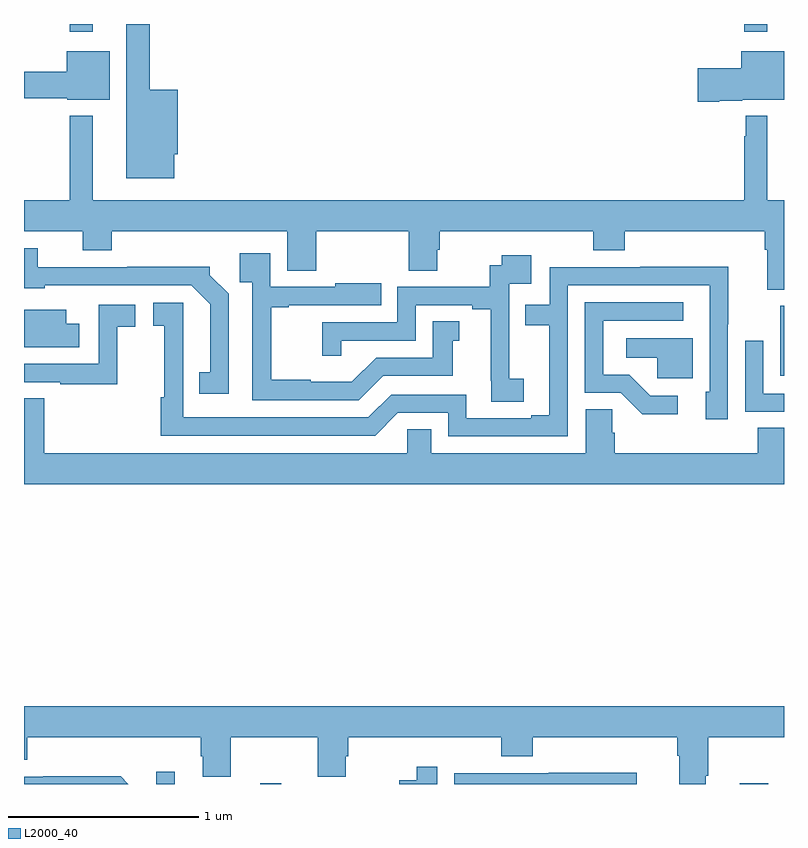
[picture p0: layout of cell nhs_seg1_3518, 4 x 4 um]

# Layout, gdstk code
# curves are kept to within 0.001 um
import gdstk
lib = gdstk.Library(unit=1e-6, precision=1e-09)
def R(c, l, rs):  # rectangles x0, y0, x1, y1
    for r in rs: c.add(gdstk.rectangle(r[:2], r[2:], *l))
def P(c, l, *ps):  # polygons
    for p in ps: c.add(gdstk.Polygon(p, *l))
L2000_40 = (2000, 40)

nhs_seg1_3518 = lib.new_cell('nhs_seg1_3518')
R(nhs_seg1_3518, L2000_40, [(303.696,506.199,303.793,506.263), (304.244,506.199,304.355,506.203), (306.767,506.199,306.916,506.203), (306.98,508.349,307,508.716), (303.24,510.159,303.361,510.199), (306.792,510.159,306.913,510.199)])
P(nhs_seg1_3518, L2000_40, [(303.79,509.514),(303.808,509.514),(303.808,509.854),(303.661,509.854),(303.661,510.199),(303.539,510.199),(303.539,509.387),(303.79,509.387)],
  [(306.658,509.795),(306.78,509.795),(306.78,509.801),(307,509.801),(307,510.055),(306.776,510.055),(306.776,509.967),(306.546,509.967),(306.546,509.789),(306.658,509.789)],
  [(303.451,510.055),(303.224,510.055),(303.224,509.949),(303,509.949),(303,509.807),(303.228,509.807),(303.228,509.801),(303.451,509.801)],
  [(303.361,509.716),(303.24,509.716),(303.24,509.272),(303,509.272),(303,509.108),(303.308,509.108),(303.308,509.009),(303.461,509.009),(303.461,509.108),(304.385,509.108),(304.385,508.9),(304.538,508.9),(304.538,509.108),(305.024,509.108),(305.024,508.9),(305.176,508.9),(305.176,509.01),(305.189,509.01),(305.189,509.108),(305.996,509.108),(305.996,509.009),(306.161,509.009),(306.161,509.108),(306.899,509.108),(306.899,509.012),(306.911,509.012),(306.911,508.801),(307,508.801),(307,509.272),(306.913,509.272),(306.913,509.716),(306.799,509.716),(306.799,509.609),(306.792,509.609),(306.792,509.272),(303.361,509.272)],
  [(304.077,508.778),(303.978,508.877),(303.978,508.922),(303.544,508.922),(303.544,508.92),(303.072,508.92),(303.072,509.019),(303,509.019),(303,508.808),(303.108,508.808),(303.108,508.824),(303.879,508.824),(303.98,508.723),(303.98,508.367),(303.922,508.367),(303.922,508.254),(304.077,508.254)],
  [(304.89,508.347),(305.257,508.347),(305.257,508.531),(305.29,508.531),(305.29,508.634),(305.15,508.634),(305.15,508.443),(304.854,508.443),(304.726,508.315),(304.508,508.315),(304.508,508.327),(304.301,508.327),(304.301,508.707),(304.393,508.707),(304.393,508.719),(304.88,508.719),(304.88,508.834),(304.637,508.834),(304.637,508.815),(304.296,508.815),(304.296,508.993),(304.135,508.993),(304.135,508.841),(304.2,508.841),(304.2,508.218),(304.761,508.218)],
  [(305.629,508.332),(305.555,508.332),(305.555,508.529),(305.553,508.529),(305.553,508.833),(305.671,508.833),(305.671,508.981),(305.515,508.981),(305.515,508.929),(305.452,508.929),(305.452,508.815),(304.965,508.815),(304.965,508.629),(304.57,508.629),(304.57,508.452),(304.671,508.452),(304.671,508.533),(305.061,508.533),(305.061,508.719),(305.36,508.719),(305.36,508.699),(305.456,508.699),(305.456,508.321),(305.458,508.321),(305.458,508.21),(305.629,508.21)],
  [(305.862,508.824),(306.609,508.824),(306.609,508.263),(306.587,508.263),(306.587,508.119),(306.705,508.119),(306.705,508.618),(306.707,508.618),(306.707,508.922),(306.244,508.922),(306.244,508.92),(305.766,508.92),(305.766,508.722),(305.638,508.722),(305.638,508.614),(305.765,508.614),(305.765,508.14),(305.669,508.14),(305.669,508.125),(305.328,508.125),(305.328,508.248),(304.932,508.248),(304.812,508.128),(303.837,508.128),(303.838,508.732),(303.681,508.732),(303.681,508.611),(303.739,508.611),(303.739,508.235),(303.721,508.235),(303.721,508.032),(304.848,508.032),(304.968,508.152),(305.232,508.152),(305.232,508.029),(305.862,508.029)],
  [(306.442,508.242),(306.297,508.242),(306.186,508.353),(306.048,508.353),(306.048,508.638),(306.469,508.638),(306.469,508.734),(305.952,508.734),(305.952,508.257),(306.141,508.257),(306.254,508.145),(306.442,508.145)],
  [(303.492,508.606),(303.586,508.606),(303.586,508.722),(303.393,508.722),(303.393,508.41),(303,508.41),(303,508.314),(303.19,508.314),(303.19,508.302),(303.492,508.302)],
  [(303.292,508.621),(303.223,508.621),(303.223,508.696),(303,508.696),(303,508.499),(303.292,508.499)],
  [(306.52,508.546),(306.171,508.546),(306.171,508.442),(306.333,508.442),(306.333,508.335),(306.52,508.335)],
  [(307,508.254),(306.891,508.254),(306.891,508.531),(306.795,508.531),(306.795,508.158),(307,508.158)],
  [(307,508.073),(306.863,508.073),(306.863,507.94),(306.11,507.94),(306.11,508.049),(306.096,508.049),(306.096,508.172),(305.957,508.172),(305.957,507.94),(305.143,507.94),(305.143,508.067),(305.016,508.067),(305.016,507.94),(303.107,507.94),(303.107,508.229),(303,508.229),(303,507.776),(307,507.776)],
  [(306.589,506.242),(306.602,506.242),(306.602,506.444),(307,506.444),(307,506.608),(303,506.608),(303,506.327),(303.017,506.327),(303.017,506.444),(303.929,506.444),(303.929,506.346),(303.941,506.346),(303.941,506.236),(304.089,506.236),(304.089,506.444),(304.546,506.444),(304.546,506.236),(304.693,506.236),(304.693,506.346),(304.706,506.346),(304.706,506.444),(305.513,506.444),(305.513,506.345),(305.678,506.345),(305.678,506.444),(306.437,506.444),(306.437,506.348),(306.449,506.348),(306.449,506.199),(306.589,506.199)],
  [(305.175,506.29),(305.067,506.29),(305.067,506.22),(304.974,506.22),(304.974,506.199),(305.175,506.199)],
  [(306.225,506.258),(305.761,506.258),(305.761,506.256),(305.265,506.256),(305.265,506.199),(306.225,506.199)],
  [(303.508,506.24),(303.1,506.24),(303.1,506.238),(303,506.238),(303,506.199),(303.549,506.199)])

lib.write_gds('nhs_seg1_3518.gds')
